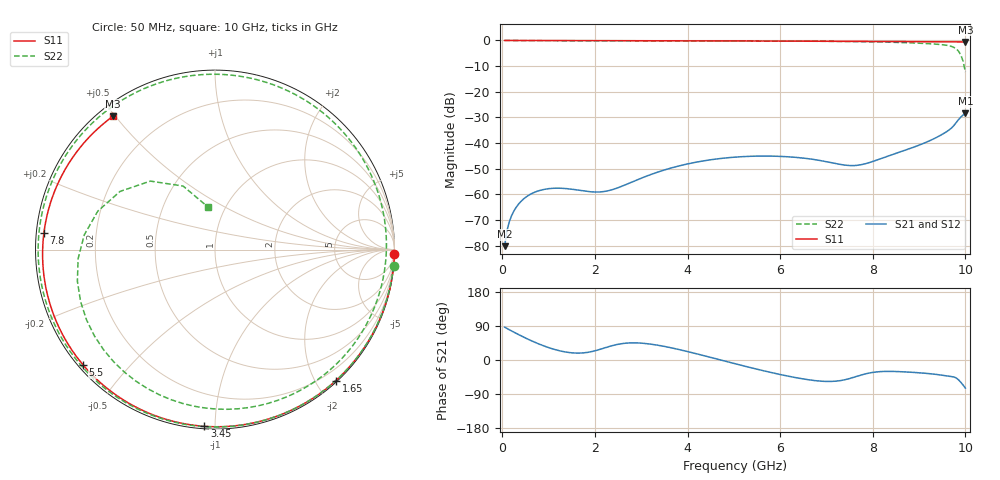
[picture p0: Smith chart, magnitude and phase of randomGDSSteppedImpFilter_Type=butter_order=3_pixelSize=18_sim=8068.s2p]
! freq	dB(S11)	phase(S11)	dB(S12)	phase(S12)
!  dB(S21)	phase(S21)	dB(S22)	phase(S22)
!S-par simulation data
#  GHz  S  DB  R 50
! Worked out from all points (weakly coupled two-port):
!   200 points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, 50 MHz to 10 GHz, reference 50 ohm
!   highest |S21| = -28.34 dB at 10 GHz (marker M1); lowest = -80.2 dB at 50 MHz (marker M2)
!   lowest |S11| = -0.6 dB at 10 GHz (marker M3), VSWR 30.02, Z = 2.07 + j24.6 ohm
!   |S11| at or under -10 dB: nowhere
!   |S22| runs from -12.3 to 0.0 dB; largest |S21 - S12| = 0
!   S11 on the Smith chart (normalised r, x): 50 MHz: 1, -77; 1.65 GHz: 0.02, -2.28; 3.45 GHz: 0.01, -0.94; 5.5 GHz: 0.01, -0.38; 7.8 GHz: 0.02, +0.05; 10 GHz: 0.04, +0.49
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0.05  -0.00 -1.5  -80.21 86.8  -80.21 86.8  -0.01 -5.3
0.1  -0.00 -3.0  -74.23 83.2  -74.23 83.2  -0.02 -10.5
0.2  -0.01 -5.9  -68.35 76.6  -68.35 76.6  -0.03 -20.7
0.5  -0.02 -14.6  -61.22 58.1  -61.22 58.1  -0.06 -50.2
1  -0.04 -29.1  -57.80 32.7  -57.80 32.7  -0.10 -92.4
1.65  -0.06 -47.3  -58.38 18.1  -58.38 18.1  -0.12 -134.0
1.75  -0.06 -50.0  -58.65 18.7  -58.65 18.7  -0.12 -139.4
2.5  -0.09 -69.9  -57.42 41.5  -57.42 41.5  -0.13 -174.3
3.4  -0.12 -92.3  -51.08 38.1  -51.08 38.1  -0.14 151.1
3.45  -0.12 -93.5  -50.79 37.0  -50.79 37.0  -0.14 149.3
4.3  -0.15 -113.0  -47.09 13.2  -47.09 13.2  -0.17 119.2
5.05  -0.19 -129.3  -45.46 -10.5  -45.46 -10.5  -0.20 92.6
5.5  -0.21 -138.8  -45.10 -24.3  -45.10 -24.3  -0.22 76.2
6.7  -0.29 -163.2  -46.34 -53.6  -46.34 -53.6  -0.30 29.6
7.8  -0.37 174.5  -48.25 -37.9  -48.25 -37.9  -0.49 -19.5
8.35  -0.42 163.2  -44.95 -30.0  -44.95 -30.0  -0.68 -48.9
9.1  -0.49 147.4  -40.10 -34.7  -40.10 -34.7  -1.15 -101.8
9.35  -0.52 142.0  -38.06 -37.7  -38.06 -37.7  -1.42 -126.3
9.6  -0.54 136.5  -35.50 -42.0  -35.50 -42.0  -1.90 -158.8
9.75  -0.56 133.2  -33.20 -44.8  -33.20 -44.8  -2.70 173.6
9.85  -0.57 130.9  -30.92 -52.1  -30.92 -52.1  -4.14 148.5
10  -0.58 127.6  -28.34 -74.3  -28.34 -74.3  -12.33 99.6
